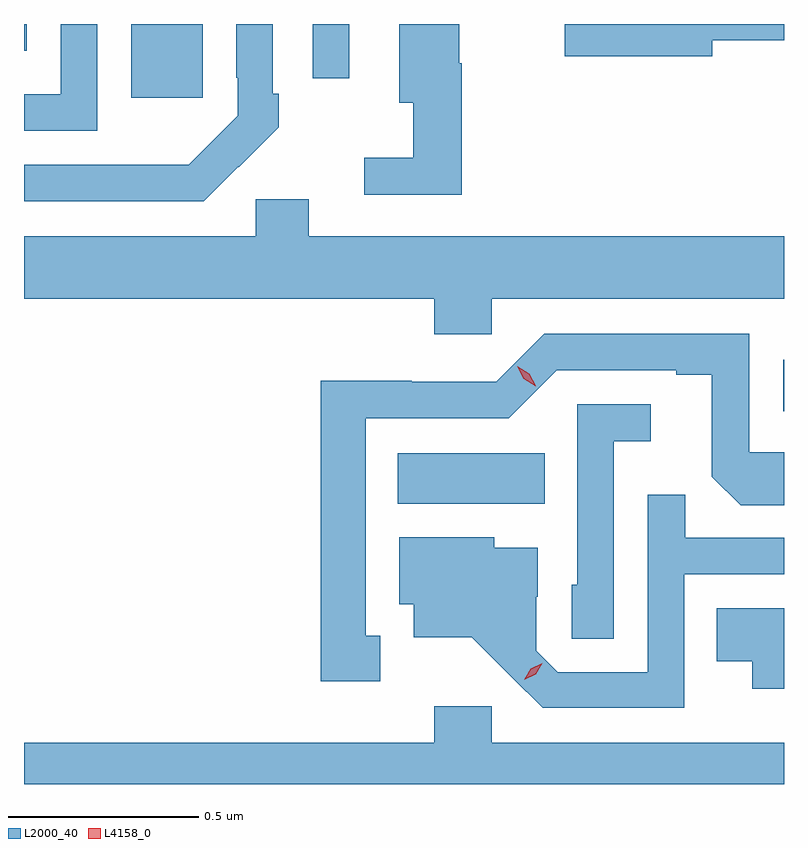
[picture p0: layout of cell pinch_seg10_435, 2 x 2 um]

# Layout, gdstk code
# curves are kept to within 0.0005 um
import gdstk
lib = gdstk.Library(unit=1e-6, precision=1e-09)
def R(c, l, rs):  # rectangles x0, y0, x1, y1
    for r in rs: c.add(gdstk.rectangle(r[:2], r[2:], *l))
def P(c, l, *ps):  # polygons
    for p in ps: c.add(gdstk.Polygon(p, *l))
L2000_40 = (2000, 40)
L4158_0 = (4158, 0)

pinch_seg10_435 = lib.new_cell('pinch_seg10_435')
R(pinch_seg10_435, L2000_40, [(382.235,1293.116,382.622,1293.25), (383.249,1293.36,383.251,1293.496), (381.533,1294.185,381.721,1294.379), (382.011,1294.236,382.107,1294.379), (381.251,1294.308,381.258,1294.379)])
P(pinch_seg10_435, L2000_40, [(383.062,1294.336),(383.251,1294.336),(383.251,1294.379),(382.674,1294.379),(382.674,1294.294),(383.062,1294.294)],
  [(381.444,1294.379),(381.348,1294.379),(381.348,1294.194),(381.251,1294.194),(381.251,1294.098),(381.444,1294.098)],
  [(382.403,1294.276),(382.396,1294.276),(382.396,1294.379),(382.238,1294.379),(382.238,1294.172),(382.275,1294.172),(382.275,1294.027),(382.146,1294.027),(382.146,1293.93),(382.403,1293.93)],
  [(381.815,1294.003),(381.816,1294.002),(381.921,1294.107),(381.921,1294.195),(381.906,1294.195),(381.906,1294.379),(381.81,1294.379),(381.81,1294.237),(381.813,1294.237),(381.813,1294.137),(381.685,1294.009),(381.581,1294.009),(381.581,1294.008),(381.251,1294.008),(381.251,1293.912),(381.724,1293.912)],
  [(382.482,1293.656),(383.251,1293.656),(383.251,1293.82),(382,1293.82),(382,1293.918),(381.861,1293.918),(381.861,1293.82),(381.251,1293.82),(381.251,1293.656),(382.331,1293.656),(382.331,1293.563),(382.482,1293.563)],
  [(382.189,1292.769),(382.15,1292.769),(382.15,1293.342),(382.527,1293.342),(382.653,1293.468),(382.967,1293.468),(382.967,1293.456),(383.061,1293.456),(383.061,1293.188),(383.137,1293.112),(383.251,1293.112),(383.251,1293.252),(383.16,1293.252),(383.16,1293.564),(382.62,1293.564),(382.494,1293.438),(382.272,1293.438),(382.272,1293.44),(382.032,1293.44),(382.032,1292.649),(382.189,1292.649)],
  [(382.803,1293.281),(382.9,1293.281),(382.9,1293.378),(382.707,1293.378),(382.707,1292.904),(382.692,1292.904),(382.692,1292.761),(382.803,1292.761)],
  [(382.989,1292.931),(383.251,1292.931),(383.251,1293.027),(382.991,1293.027),(382.991,1293.14),(382.893,1293.14),(382.893,1292.673),(382.656,1292.673),(382.599,1292.73),(382.599,1292.872),(382.603,1292.872),(382.603,1293.001),(382.488,1293.001),(382.488,1293.028),(382.238,1293.028),(382.238,1292.852),(382.277,1292.852),(382.277,1292.765),(382.429,1292.765),(382.616,1292.58),(382.989,1292.58)],
  [(383.251,1292.842),(383.074,1292.842),(383.074,1292.702),(383.168,1292.702),(383.168,1292.63),(383.251,1292.63)],
  [(383.251,1292.488),(382.482,1292.488),(382.482,1292.584),(382.331,1292.584),(382.331,1292.488),(381.251,1292.488),(381.251,1292.379),(383.251,1292.379)])
P(pinch_seg10_435, L4158_0, [(382.567,1292.653),(382.567,1292.654),(382.584,1292.682),(382.615,1292.697),(382.615,1292.697),(382.615,1292.697),(382.598,1292.668),(382.567,1292.653)],
  [(382.598,1293.426),(382.566,1293.446),(382.549,1293.478),(382.549,1293.479),(382.549,1293.479),(382.581,1293.459),(382.598,1293.427),(382.598,1293.426)])

lib.write_gds('pinch_seg10_435.gds')
